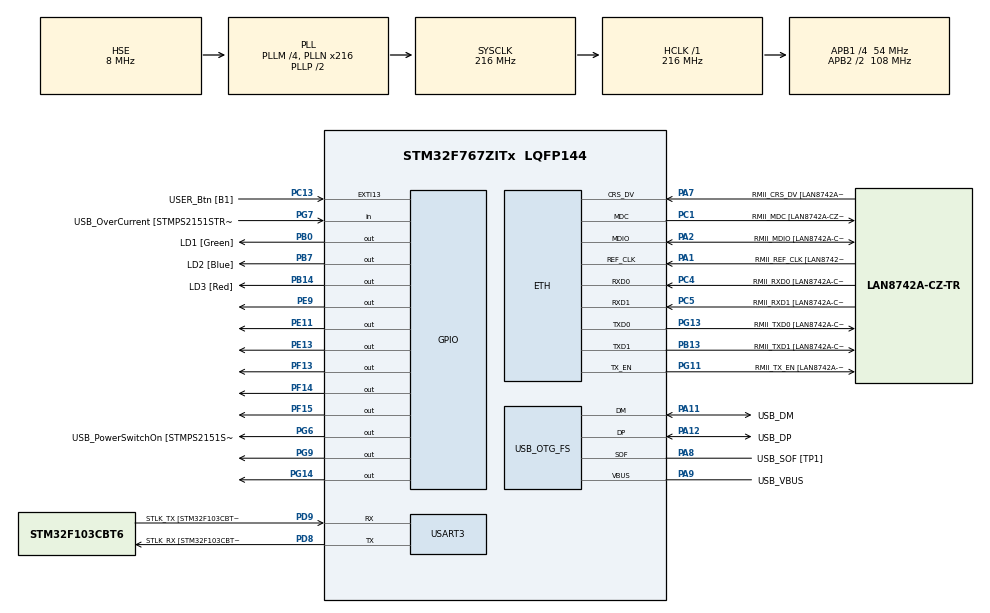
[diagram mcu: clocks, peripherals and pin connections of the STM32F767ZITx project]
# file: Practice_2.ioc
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ETH.MediaInterface=HAL_ETH_RMII_MODE
ETH.PHY_Name=LAN8742A_PHY_ADDRESS
ETH.PHY_Value=0
ETH.PhyAddress=0
Mcu.Family=STM32F7
Mcu.Name=STM32F767ZITx
Mcu.Package=LQFP144
NVIC.PriorityGroup=NVIC_PRIORITYGROUP_4
PA1.GPIO_Label=RMII_REF_CLK [LAN8742A-CZ-TR_REFCLK0]
PA1.Mode=RMII
PA1.Signal=ETH_REF_CLK
PA10.GPIO_Label=USB_ID
PA10.Signal=USB_OTG_FS_ID
PA11.GPIO_Label=USB_DM
PA11.Mode=Device_Only
PA11.Signal=USB_OTG_FS_DM
PA12.GPIO_Label=USB_DP
PA12.Mode=Device_Only
PA12.Signal=USB_OTG_FS_DP
PA13.GPIO_Label=TMS
PA13.Mode=Serial_Wire
PA13.Signal=SYS_JTMS-SWDIO
PA14.GPIO_Label=TCK
PA14.Mode=Serial_Wire
PA14.Signal=SYS_JTCK-SWCLK
PA2.GPIO_Label=RMII_MDIO [LAN8742A-CZ-TR_MDIO]
PA2.Mode=RMII
PA2.Signal=ETH_MDIO
PA7.GPIO_Label=RMII_CRS_DV [LAN8742A-CZ-TR_CRS_DV]
PA7.Mode=RMII
PA7.Signal=ETH_CRS_DV
PA8.GPIO_Label=USB_SOF [TP1]
PA8.Mode=Activate_SOF_FS
PA8.Signal=USB_OTG_FS_SOF
PA9.GPIO_Label=USB_VBUS
PA9.Mode=Activate_VBUS
PA9.Signal=USB_OTG_FS_VBUS
PB0.GPIO_Label=LD1 [Green]
PB0.Signal=GPIO_Output
PB13.GPIO_Label=RMII_TXD1 [LAN8742A-CZ-TR_TXD1]
PB13.Mode=RMII
PB13.Signal=ETH_TXD1
PB14.GPIO_Label=LD3 [Red]
PB14.Signal=GPIO_Output
PB3.GPIO_Label=SWO
PB3.Signal=SYS_JTDO-SWO
PB7.GPIO_Label=LD2 [Blue]
PB7.Signal=GPIO_Output
PC1.GPIO_Label=RMII_MDC [LAN8742A-CZ-TR_MDC]
PC1.Mode=RMII
PC1.Signal=ETH_MDC
PC13.GPIO_Label=USER_Btn [B1]
PC13.Signal=GPXTI13
PC14/OSC32_IN.Mode=LSE-External-Oscillator
PC14/OSC32_IN.Signal=RCC_OSC32_IN
PC15/OSC32_OUT.Mode=LSE-External-Oscillator
PC15/OSC32_OUT.Signal=RCC_OSC32_OUT
PC4.GPIO_Label=RMII_RXD0 [LAN8742A-CZ-TR_RXD0]
PC4.Mode=RMII
PC4.Signal=ETH_RXD0
PC5.GPIO_Label=RMII_RXD1 [LAN8742A-CZ-TR_RXD1]
PC5.Mode=RMII
PC5.Signal=ETH_RXD1
PD8.GPIO_Label=STLK_RX [STM32F103CBT6_PA3]
PD8.Mode=Asynchronous
PD8.Signal=USART3_TX
PD9.GPIO_Label=STLK_TX [STM32F103CBT6_PA2]
PD9.Mode=Asynchronous
PD9.Signal=USART3_RX
PE11.Signal=GPIO_Output
PE13.Signal=GPIO_Output
PE9.Signal=GPIO_Output
PF13.Signal=GPIO_Output
PF14.Signal=GPIO_Output
PF15.Signal=GPIO_Output
PG11.GPIO_Label=RMII_TX_EN [LAN8742A-CZ-TR_TXEN]
PG11.Mode=RMII
PG11.Signal=ETH_TX_EN
PG13.GPIO_Label=RMII_TXD0 [LAN8742A-CZ-TR_TXD0]
PG13.Mode=RMII
PG13.Signal=ETH_TXD0
PG14.Signal=GPIO_Output
PG6.GPIO_Label=USB_PowerSwitchOn [STMPS2151STR_EN]
PG6.Signal=GPIO_Output
PG7.GPIO_Label=USB_OverCurrent [STMPS2151STR_FAULT]
PG7.Signal=GPIO_Input
PG9.Signal=GPIO_Output
PH0/OSC_IN.GPIO_Label=MCO [STM32F103CBT6_PA8]
PH0/OSC_IN.Mode=HSE-External-Clock-Source
PH0/OSC_IN.Signal=RCC_OSC_IN
PH1/OSC_OUT.Mode=HSE-External-Clock-Source
PH1/OSC_OUT.Signal=RCC_OSC_OUT
ProjectManager.HeapSize=0x200
ProjectManager.StackSize=0x400
ProjectManager.TargetToolchain=STM32CubeIDE
RCC.48MHZClocksFreq_Value=24000000
RCC.AHBFreq_Value=216000000
RCC.APB1CLKDivider=RCC_HCLK_DIV4
RCC.APB1Freq_Value=54000000
RCC.APB1TimFreq_Value=108000000
RCC.APB2CLKDivider=RCC_HCLK_DIV2
RCC.APB2Freq_Value=108000000
RCC.APB2TimFreq_Value=216000000
RCC.CortexFreq_Value=216000000
RCC.HCLKFreq_Value=216000000
RCC.HSE_VALUE=8000000
RCC.HSI_VALUE=16000000
RCC.PLLM=4
RCC.PLLMUL=RCC_PLL_MUL9
RCC.PLLN=216
RCC.PLLQ=9
RCC.PRESCALERUSB=RCC_USBCLKSOURCE_PLL_DIV1_5
RCC.SYSCLKFreq_VALUE=216000000
RCC.SYSCLKSource=RCC_SYSCLKSOURCE_PLLCLK
RCC.SYSCLKSourceVirtual=RCC_SYSCLKSOURCE_PLLCLK
RCC.USBFreq_Value=48000000
RCC.VCOOutputFreq_Value=432000000
USART3.VirtualMode-Asynchronous=VM_ASYNC
USB_OTG_FS.VirtualMode=Device_Only
board=NUCLEO-F767ZI

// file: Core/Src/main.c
/* USER CODE BEGIN Header */
/**
  ******************************************************************************
  * @file           : main.c
  * @brief          : Main program body
  ******************************************************************************
  * @attention
  *
  * Copyright (c) 2025 STMicroelectronics.
  * All rights reserved.
  *
  * This software is licensed under terms that can be found in the LICENSE file
  * in the root directory of this software component.
  * If no LICENSE file comes with this software, it is provided AS-IS.
  *
  ******************************************************************************
  */
/* USER CODE END Header */
#include "main.h"
#include "eth.h"
#include "usart.h"
#include "usb_otg.h"
#include "gpio.h"

/* USER CODE BEGIN PD */

typedef struct {
    GPIO_TypeDef *port;
    uint16_t pin;
} LedPin;

LedPin leds[8] = {
    {GPIOF, GPIO_PIN_13},
    {GPIOE, GPIO_PIN_9},
    {GPIOE, GPIO_PIN_11},
    {GPIOF, GPIO_PIN_14},
	{GPIOE, GPIO_PIN_13},
	{GPIOF, GPIO_PIN_15},
	{GPIOG, GPIO_PIN_14},
	{GPIOG, GPIO_PIN_9}
};

/* USER CODE END PD */

void SystemClock_Config(void);

int main(void)
{

  /* MCU Configuration--------------------------------------------------------*/

  /* Reset of all peripherals, Initializes the Flash interface and the Systick. */
  HAL_Init();

  /* Configure the system clock */
  SystemClock_Config();

  /* Initialize all configured peripherals */
  MX_GPIO_Init();
  MX_ETH_Init();
  MX_USART3_UART_Init();
  MX_USB_OTG_FS_PCD_Init();

  /* Infinite loop */
  /* USER CODE BEGIN WHILE */
  int state = 0;
  while (1)
  {
    /* USER CODE END WHILE */

    /* USER CODE BEGIN 3 */

	  for (uint8_t i = 0 ; i < 8; i ++) {
		  HAL_GPIO_WritePin(leds[i].port, leds[i].pin, GPIO_PIN_RESET);
	  }

	  if (state == 0){
		  HAL_GPIO_WritePin(leds[7].port, leds[7].pin, GPIO_PIN_SET);
		  HAL_GPIO_WritePin(leds[6].port, leds[6].pin, GPIO_PIN_SET);
	  }

	  else if (state == 1){
		  HAL_GPIO_WritePin(leds[5].port, leds[5].pin, GPIO_PIN_SET);
		  HAL_GPIO_WritePin(leds[4].port, leds[4].pin, GPIO_PIN_SET);
	  }

	  else if (state == 2){
		  HAL_GPIO_WritePin(leds[3].port, leds[3].pin, GPIO_PIN_SET);
		  HAL_GPIO_WritePin(leds[2].port, leds[2].pin, GPIO_PIN_SET);
	  }

	  else if (state == 3){
		  HAL_GPIO_WritePin(leds[1].port, leds[1].pin, GPIO_PIN_SET);
		  HAL_GPIO_WritePin(leds[0].port, leds[0].pin, GPIO_PIN_SET);
	  }

	  state += 1;
	  state %= 4;

	  HAL_Delay(400);
  }
  /* USER CODE END 3 */
}

void SystemClock_Config(void)
{
  RCC_OscInitTypeDef RCC_OscInitStruct = {0};
  RCC_ClkInitTypeDef RCC_ClkInitStruct = {0};

  /** Configure LSE Drive Capability
  */
  HAL_PWR_EnableBkUpAccess();

  /** Configure the main internal regulator output voltage
  */
  __HAL_RCC_PWR_CLK_ENABLE();
  __HAL_PWR_VOLTAGESCALING_CONFIG(PWR_REGULATOR_VOLTAGE_SCALE1);

  /** Initializes the RCC Oscillators according to the specified parameters
  * in the RCC_OscInitTypeDef structure.
  */
  RCC_OscInitStruct.OscillatorType = RCC_OSCILLATORTYPE_HSE;
  RCC_OscInitStruct.HSEState = RCC_HSE_BYPASS;
  RCC_OscInitStruct.PLL.PLLState = RCC_PLL_ON;
  RCC_OscInitStruct.PLL.PLLSource = RCC_PLLSOURCE_HSE;
  RCC_OscInitStruct.PLL.PLLM = 4;
  RCC_OscInitStruct.PLL.PLLN = 216;
  RCC_OscInitStruct.PLL.PLLP = RCC_PLLP_DIV2;
  RCC_OscInitStruct.PLL.PLLQ = 9;
  RCC_OscInitStruct.PLL.PLLR = 2;
  if (HAL_RCC_OscConfig(&RCC_OscInitStruct) != HAL_OK)
  {
    Error_Handler();
  }

  /** Activate the Over-Drive mode
  */
  if (HAL_PWREx_EnableOverDrive() != HAL_OK)
  {
    Error_Handler();
  }

  /** Initializes the CPU, AHB and APB buses clocks
  */
  RCC_ClkInitStruct.ClockType = RCC_CLOCKTYPE_HCLK|RCC_CLOCKTYPE_SYSCLK
                              |RCC_CLOCKTYPE_PCLK1|RCC_CLOCKTYPE_PCLK2;
  RCC_ClkInitStruct.SYSCLKSource = RCC_SYSCLKSOURCE_PLLCLK;
  RCC_ClkInitStruct.AHBCLKDivider = RCC_SYSCLK_DIV1;
  RCC_ClkInitStruct.APB1CLKDivider = RCC_HCLK_DIV4;
  RCC_ClkInitStruct.APB2CLKDivider = RCC_HCLK_DIV2;

  if (HAL_RCC_ClockConfig(&RCC_ClkInitStruct, FLASH_LATENCY_7) != HAL_OK)
  {
    Error_Handler();
  }
}

void Error_Handler(void)
{
  __disable_irq();
  while (1)
  {
  }
}
